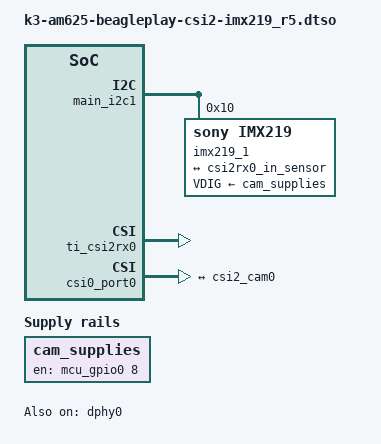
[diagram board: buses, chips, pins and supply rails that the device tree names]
// SPDX-License-Identifier: GPL-2.0
/*
 * ALINX AN5641 & Digilent PCam 5C - OV5640 camera module
 * Copyright (C) 2022 Texas Instruments Incorporated - https://www.ti.com/
 */

/dts-v1/;
/plugin/;

#include <dt-bindings/gpio/gpio.h>

/ {
	fragment@101 {
		target-path = "/";
		__overlay__ {
			clk_imx219_fixed: imx219-xclk {
				compatible = "fixed-clock";
				#clock-cells = <0>;
				clock-frequency = <24000000>;
			};

			cam_supplies: cam_pwr_enables {
				compatible = "regulator-fixed";
				regulator-name = "cam_supplies";
				gpio = <&mcu_gpio0 8 GPIO_ACTIVE_HIGH>;
				enable-active-high;
				startup-delay-us = <100000>;
			};
		};
	};
};

&main_i2c1 {
	#address-cells = <1>;
	#size-cells = <0>;

	/* MIPI Raspberry Pi Camera V2 0x10 */
	imx219_1: imx219_1@10 {
		compatible = "sony,imx219";
		reg = <0x10>;

		clocks = <&clk_imx219_fixed>;
		clock-names = "xclk";

		pinctrl-names = "default";
		pinctrl-0 = <&cam0_pin2_default
					 &cam0_pin1_default>;
		// reset-gpios = <&mcu_gpio0 8 GPIO_ACTIVE_HIGH>;
		// the enable line on the camera enables all the local power supplies.
		VDIG-supply = <&cam_supplies>;
		port {
			csi2_cam0: endpoint {
				remote-endpoint = <&csi2rx0_in_sensor>;
				link-frequencies = /bits/ 64 <456000000>;
				clock-lanes = <0>;
				data-lanes = <1 2>;
			};
		};
	};
};

&ti_csi2rx0 {
	status = "okay";
};

&csi0_port0 {
	status = "okay";

	csi2rx0_in_sensor: endpoint {
		remote-endpoint = <&csi2_cam0>;
		bus-type = <4>; /* CSI2 DPHY. */
		clock-lanes = <0>;
		data-lanes = <1 2>;
	};
};

&dphy0 {
	status = "okay";
};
